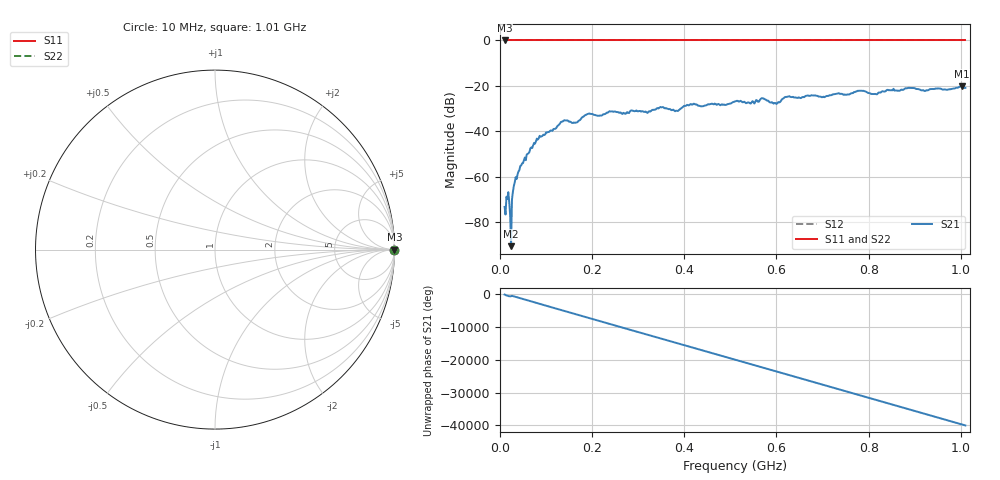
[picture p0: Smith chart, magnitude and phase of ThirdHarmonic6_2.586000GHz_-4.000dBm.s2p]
! 8/17/2025 5:30:20 AM
! C:\ANRITSUVNA\TEMP\TEMP.S2P
! CHANNEL.1
! TR.MEASUREMENT
! RAW.DATA
! RF.CORRECTION.OFF
! AVERAGING.OFF
! IF.BANDWIDTH: 5KHZ
! SWEEPTYPE:  FREQ.SWEEP(Linear)
! Reference Plane Port Info
! PORT:  PORT1  PORT2
! DISTANCE:  0  m  0  m
! TIME:  0  s  0  s
! PHASE.OFFSET:  0  deg.  0  deg.
! LOSS:  0  dB  0  dB
! REF.LOSS:  0  dB  0  dB
! REF.FREQ:  0  Hz  0  Hz
! Power Info
! POWER:  -20  dBm  -20  dBm
! EFF.POWER:  -20  dBm  -20  dBm
! SOURCE.ATTEN:  0  dB  0  dB
! TEST.ATTEN:  0  dB  0  dB
# GHZ S RI R 50.0
! FREQ.GHZ  S11RE  S11IM  S21RE  S21IM  S12RE  S12IM  S22RE  S22IM
!; PortSelection: Port_12
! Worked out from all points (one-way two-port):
!   501 points, 10 MHz to 1.01 GHz, reference 50 ohm
!   highest |S21| = -20.28 dB at 1.002 GHz (marker M1); lowest = -90.7 dB at 24 MHz (marker M2)
!   lowest |S11| = 0.0 dB at 10 MHz (marker M3)
!   |S11| at or under -10 dB: nowhere
!   |S22| runs from 0.0 to 0.0 dB; largest |S21 - S12| = 1.1
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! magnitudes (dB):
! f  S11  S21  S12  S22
! 10 MHz  0.0  -73.4  0.0  0.0
! 16 MHz  0.0  -69.9  0.0  0.0
! 24 MHz  0.0  -90.7  0.0  0.0
! 32 MHz  0.0  -62.5  0.0  0.0
! 42 MHz  0.0  -57.2  0.0  0.0
! 82 MHz  0.0  -43.7  0.0  0.0
! 136 MHz  0.0  -35.8  0.0  0.0
! 164 MHz  0.0  -36.2  0.0  0.0
! 178 MHz  0.0  -34.0  0.0  0.0
! 192 MHz  0.0  -32.3  0.0  0.0
! 322 MHz  0.0  -31.5  0.0  0.0
! 344 MHz  0.0  -30.0  0.0  0.0
! 384 MHz  0.0  -31.0  0.0  0.0
! 416 MHz  0.0  -28.3  0.0  0.0
! 510 MHz  0.0  -26.9  0.0  0.0
! 570 MHz  0.0  -25.5  0.0  0.0
! 598 MHz  0.0  -27.6  0.0  0.0
! 622 MHz  0.0  -24.9  0.0  0.0
! 678 MHz  0.0  -24.3  0.0  0.0
! 844 MHz  0.0  -22.0  0.0  0.0
! 1.002 GHz  0.0  -20.3  0.0  0.0
! 1.01 GHz  0.0  -20.9  0.0  0.0
